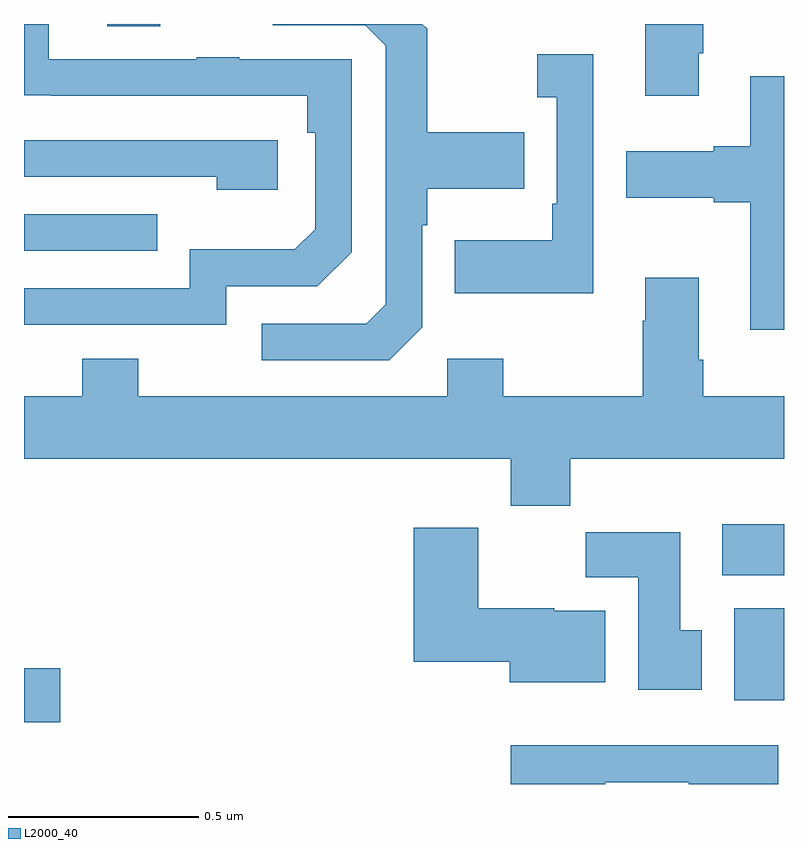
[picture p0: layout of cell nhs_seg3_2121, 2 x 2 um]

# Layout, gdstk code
import gdstk
lib = gdstk.Library(unit=1e-6, precision=1e-09)
def R(c, l, rs):  # rectangles x0, y0, x1, y1
    for r in rs: c.add(gdstk.rectangle(r[:2], r[2:], *l))
def P(c, l, *ps):  # polygons
    for p in ps: c.add(gdstk.Polygon(p, *l))
L2000_40 = (2000, 40)

nhs_seg3_2121 = lib.new_cell('nhs_seg3_2121')
R(nhs_seg3_2121, L2000_40, [(137,693.562,137.095,693.704), (138.869,693.62,139,693.862), (138.837,693.95,139,694.084), (137,694.803,137.351,694.899), (137.219,695.394,137.359,695.4)])
P(nhs_seg3_2121, L2000_40, [(138.775,695.323),(138.788,695.323),(138.788,695.4),(138.635,695.4),(138.635,695.211),(138.775,695.211)],
  [(137.532,694.71),(137.772,694.71),(137.862,694.8),(137.862,695.307),(137.567,695.307),(137.567,695.312),(137.455,695.312),(137.455,695.307),(137.065,695.307),(137.065,695.4),(137,695.4),(137,695.212),(137.071,695.212),(137.071,695.211),(137.746,695.211),(137.746,695.114),(137.766,695.114),(137.766,694.86),(137.713,694.807),(137.436,694.807),(137.436,694.704),(137,694.704),(137,694.608),(137.532,694.608)],
  [(138.048,694.602),(138.048,694.871),(138.061,694.871),(138.061,694.967),(138.317,694.967),(138.317,695.115),(138.061,695.115),(138.061,695.387),(138.048,695.4),(137.655,695.4),(137.655,695.397),(137.898,695.397),(137.952,695.343),(137.952,694.662),(137.901,694.611),(137.625,694.611),(137.625,694.515),(137.961,694.515)],
  [(138.498,695.32),(138.351,695.32),(138.351,695.207),(138.402,695.207),(138.402,694.927),(138.39,694.927),(138.39,694.831),(138.133,694.831),(138.133,694.691),(138.498,694.691)],
  [(139,695.263),(138.911,695.263),(138.911,695.078),(138.815,695.078),(138.815,695.065),(138.585,695.065),(138.585,694.943),(138.815,694.943),(138.815,694.931),(138.911,694.931),(138.911,694.596),(139,694.596)],
  [(137.668,695.094),(137,695.094),(137,694.998),(137.507,694.998),(137.507,694.964),(137.668,694.964)],
  [(138.437,694.256),(139,694.256),(139,694.42),(138.788,694.42),(138.788,694.516),(138.775,694.516),(138.775,694.732),(138.635,694.732),(138.635,694.619),(138.628,694.619),(138.628,694.42),(138.261,694.42),(138.261,694.519),(138.114,694.519),(138.114,694.42),(137.301,694.42),(137.301,694.519),(137.153,694.519),(137.153,694.42),(137,694.42),(137,694.256),(138.281,694.256),(138.281,694.132),(138.437,694.132)],
  [(138.529,693.856),(138.396,693.856),(138.396,693.862),(138.196,693.862),(138.196,694.075),(138.026,694.075),(138.026,693.722),(138.278,693.722),(138.278,693.668),(138.529,693.668)],
  [(138.784,693.804),(138.727,693.804),(138.727,694.063),(138.478,694.063),(138.478,693.944),(138.617,693.944),(138.617,693.648),(138.784,693.648)],
  [(138.529,693.405),(138.749,693.405),(138.749,693.4),(138.985,693.4),(138.985,693.502),(138.281,693.502),(138.281,693.4),(138.529,693.4)])

lib.write_gds('nhs_seg3_2121.gds')
